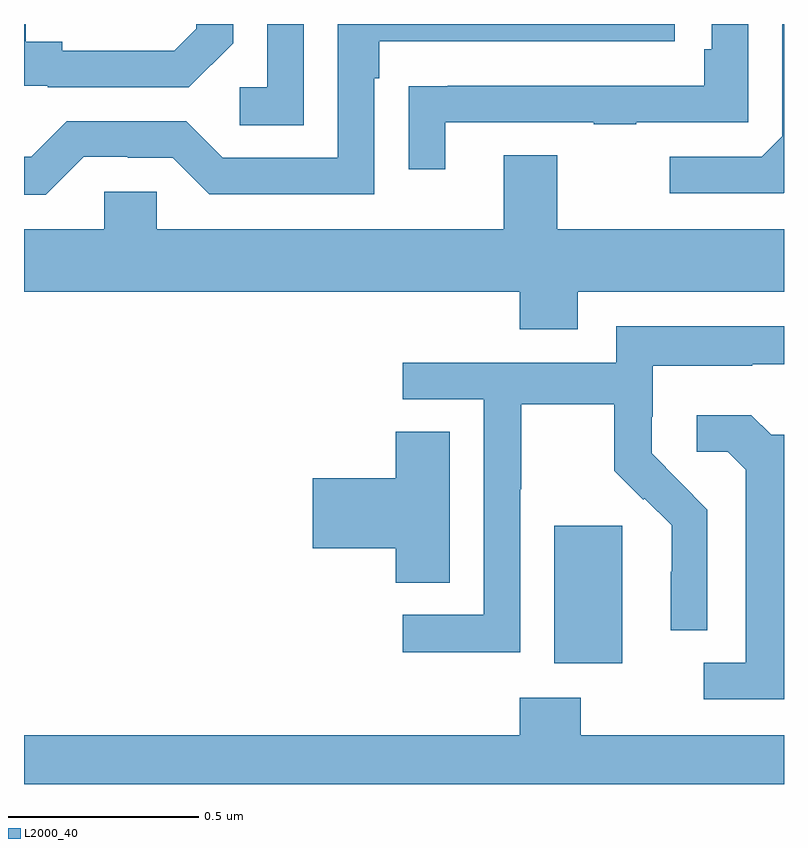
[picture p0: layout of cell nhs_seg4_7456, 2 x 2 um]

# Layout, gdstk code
import gdstk
lib = gdstk.Library(unit=1e-6, precision=1e-09)
def R(c, l, rs):  # rectangles x0, y0, x1, y1
    for r in rs: c.add(gdstk.rectangle(r[:2], r[2:], *l))
def P(c, l, *ps):  # polygons
    for p in ps: c.add(gdstk.Polygon(p, *l))
L2000_40 = (2000, 40)

nhs_seg4_7456 = lib.new_cell('nhs_seg4_7456')
R(nhs_seg4_7456, L2000_40, [(204.395,753.218,204.574,753.579)])
P(nhs_seg4_7456, L2000_40, [(203.55,754.85),(203.55,754.9),(203.453,754.9),(203.453,754.887),(203.396,754.83),(203.101,754.83),(203.101,754.853),(203.005,754.853),(203.005,754.9),(203,754.9),(203,754.737),(203.062,754.737),(203.062,754.734),(203.434,754.734)],
  [(203.157,754.551),(203.273,754.551),(203.273,754.548),(203.391,754.548),(203.487,754.452),(203.922,754.452),(203.922,754.757),(203.935,754.757),(203.935,754.854),(204.712,754.854),(204.712,754.9),(203.826,754.9),(203.826,754.548),(203.523,754.548),(203.427,754.644),(203.112,754.644),(203.019,754.551),(203,754.551),(203,754.451),(203.057,754.451)],
  [(205,754.456),(205,754.9),(204.996,754.9),(204.996,754.605),(204.942,754.551),(204.699,754.551),(204.699,754.455),(204.999,754.455)],
  [(204.109,754.641),(204.499,754.641),(204.499,754.636),(204.611,754.636),(204.611,754.641),(204.906,754.641),(204.906,754.9),(204.81,754.9),(204.81,754.834),(204.79,754.834),(204.79,754.737),(204.115,754.737),(204.115,754.736),(204.013,754.736),(204.013,754.518),(204.109,754.518)],
  [(203.736,754.9),(203.64,754.9),(203.64,754.734),(203.568,754.734),(203.568,754.633),(203.736,754.633)],
  [(204.457,754.196),(205,754.196),(205,754.36),(204.403,754.36),(204.403,754.555),(204.263,754.555),(204.263,754.36),(203.349,754.36),(203.349,754.458),(203.211,754.458),(203.211,754.36),(203,754.36),(203,754.196),(204.305,754.196),(204.305,754.097),(204.457,754.097)],
  [(204.21,753.912),(204.21,753.345),(203.997,753.345),(203.997,753.247),(204.306,753.247),(204.306,753.676),(204.309,753.676),(204.309,753.9),(204.553,753.9),(204.553,753.725),(204.63,753.648),(204.633,753.651),(204.704,753.581),(204.704,753.458),(204.702,753.458),(204.702,753.304),(204.798,753.304),(204.798,753.622),(204.725,753.695),(204.726,753.696),(204.652,753.77),(204.652,753.867),(204.654,753.867),(204.654,754.001),(204.917,754.001),(204.917,754.005),(205,754.005),(205,754.105),(204.558,754.105),(204.558,754.008),(203.997,754.008),(203.997,753.912)],
  [(205,753.819),(204.966,753.819),(204.914,753.871),(204.771,753.871),(204.771,753.774),(204.852,753.774),(204.899,753.727),(204.899,753.219),(204.789,753.219),(204.789,753.123),(205,753.123)],
  [(204.121,753.827),(203.978,753.827),(203.978,753.704),(203.76,753.704),(203.76,753.521),(203.978,753.521),(203.978,753.43),(204.121,753.43)],
  [(205,753.028),(204.465,753.028),(204.465,753.127),(204.305,753.127),(204.305,753.028),(203,753.028),(203,752.9),(205,752.9)])

lib.write_gds('nhs_seg4_7456.gds')
